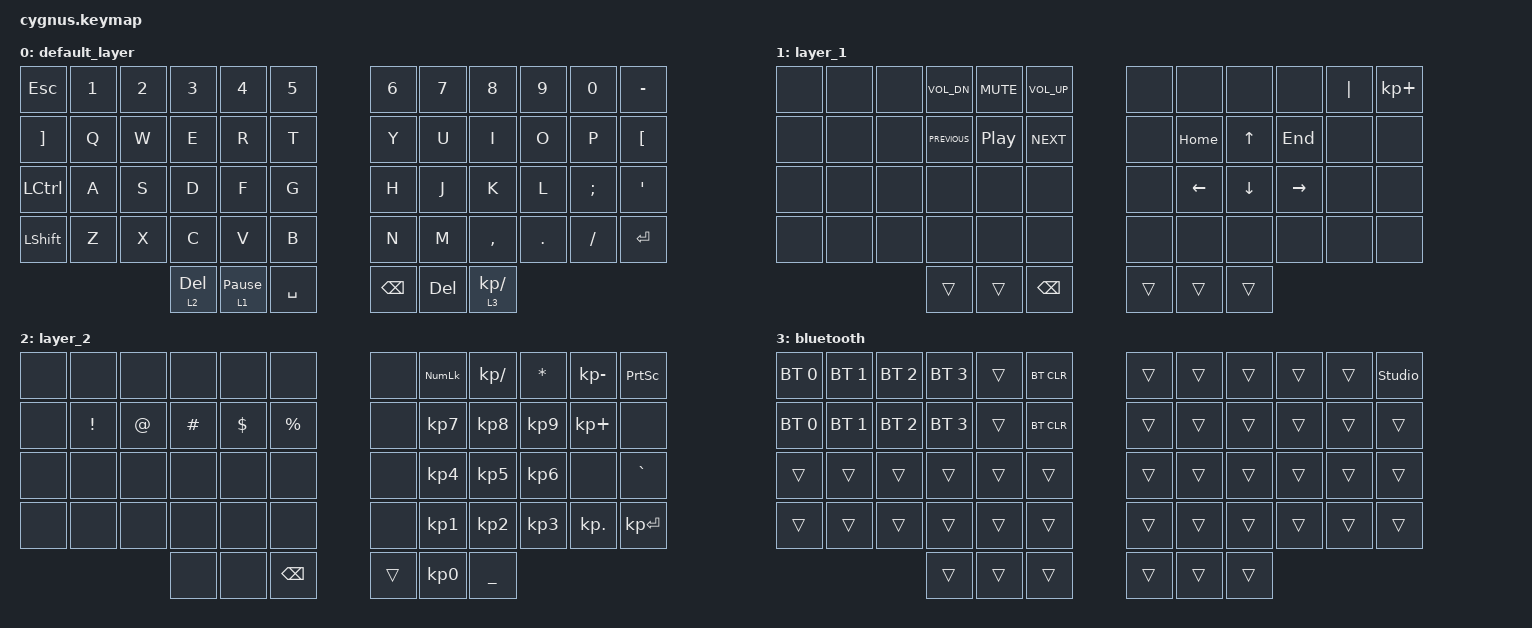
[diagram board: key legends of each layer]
#include <behaviors/rgbled_widget.dtsi>
#include <behaviors.dtsi>
#include <dt-bindings/zmk/bt.h>
#include <dt-bindings/zmk/keys.h>

/ {
    combos {
        compatible = "zmk,combos";

        bluetooth {
            bindings = <&mo 3>;
            key-positions = <41 36>;
        };

        bt2 {
            bindings = <&mo 3>;
            key-positions = <48 53>;
        };
    };

    behaviors {
        hml: hml {
            compatible = "zmk,behavior-hold-tap";
            label = "HOME_ROW_LEFT";
            bindings = <&kp>, <&kp>;

            #binding-cells = <2>;
            hold-trigger-key-positions = <6 7 8 9 10 11 18 19 20 21 22 23 30 31 32 33 34 35 42 43 44 45 46 47>;
            tapping-term-ms = <180>;
            quick-tap-ms = <175>;
            require-prior-idle-ms = <150>;
            flavor = "balanced";
            hold-trigger-on-release;
        };

        hmr: hmr {
            compatible = "zmk,behavior-hold-tap";
            label = "HOME_ROW_RIGHT";
            bindings = <&kp>, <&kp>;

            #binding-cells = <2>;
            tapping-term-ms = <180>;
            quick-tap-ms = <175>;
            require-prior-idle-ms = <150>;
            flavor = "balanced";
            hold-trigger-key-positions = <0 1 2 3 4 5 12 13 14 15 16 17 24 25 26 27 28 29 36 37 38 39 40 41>;
            hold-trigger-on-release;
        };
    };

    keymap {
        compatible = "zmk,keymap";

        default_layer {
            // -----------------------------------------------------------------------------------------
            // |  ESC |  1  |  2  |  3  |  4  |  5  |   |  6  |  7   |  8  |  9  |  0  |  ?   |
            // |  TAB |  Q  |  W  |  E  |  R  |  T  |   |  Y  |  U   |  I  |  O  |  P  | BKSP |
            // | CTRL |  A  |  S  |  D  |  F  |  G  |   |  H  |  J   |  K  |  L  |  ;  |  '   |
            // | SHFT |  Z  |  X  |  C  |  V  |  B  |   |  N  |  M   |  ,  |  .  |  /  | ESC  |
            //                    | GUI | LWR | SPC |   | ENT | RSE  | ALT |

            bindings = <
&kp ESCAPE  &kp N1  &kp N2  &kp N3        &kp N4             &kp N5       &kp N6    &kp N7      &kp N8           &kp N9   &kp N0     &kp MINUS
&kp RBKT    &kp Q   &kp W   &kp E         &kp R              &kp T        &kp Y     &kp U       &kp I            &kp O    &kp P      &kp LBKT
&kp LCTRL   &kp A   &kp S   &kp D         &kp F              &kp G        &kp H     &kp J       &kp K            &kp L    &kp SEMI   &kp SQT
&kp LSHFT   &kp Z   &kp X   &kp C         &kp V              &kp B        &kp N     &kp M       &kp COMMA        &kp DOT  &kp SLASH  &kp ENTER
                            &lt 2 DELETE  &lt 1 PAUSE_BREAK  &kp SPACE    &kp BSPC  &kp DELETE  &lt 3 KP_DIVIDE
            >;
        };

        layer_1 {
            // -----------------------------------------------------------------------------------------
            // |  TAB |  F1 |  F2 |  F3 |  F4 |  F5 |   |  F6 |  F7 |  F8 |  F9 | F10 | BKSP |
            // |  TAB |  1  |  2  |  3  |  4  |  5  |   |  6  |  7  |  8  |  9  |  0  | BKSP |
            // | BTCLR| BT1 | BT2 | BT3 | BT4 | BT5 |   | LFT | DWN |  UP | RGT |     |      |
            // | SHFT |     |     |     |     |     |   |     |     |     |     |     |      |
            //                    | GUI |     | SPC |   | ENT |     | ALT |

            bindings = <
&none  &none  &none  &kp C_VOL_DN    &kp C_MUTE        &kp C_VOL_UP     &none   &none     &none         &none      &kp PIPE  &kp KP_PLUS
&none  &none  &none  &kp C_PREVIOUS  &kp C_PLAY_PAUSE  &kp C_NEXT       &none   &kp HOME  &kp UP_ARROW  &kp END    &none     &none
&none  &none  &none  &none           &none             &none            &none   &kp LEFT  &kp DOWN      &kp RIGHT  &none     &none
&none  &none  &none  &none           &none             &none            &none   &none     &none         &none      &none     &none
                     &trans          &trans            &kp BACKSPACE    &trans  &trans    &trans
            >;
        };

        layer_2 {
            // -----------------------------------------------------------------------------------------
            // |  TAB |  !  |  @  |  #  |  $  |  %  |   |  ^  |  &  |  *  |  (  |  )  | BKSP |
            // | CTRL |     |     |     |     |     |   |  -  |  =  |  [  |  ]  |  \  |  `   |
            // | SHFT |     |     |     |     |     |   |  _  |  +  |  {  |  }  | "|" |  ~   |
            //                    | GUI |     | SPC |   | ENT |     | ALT |

            bindings = <
&none  &none     &none   &none     &none     &none            &none   &kp KP_NUMLOCK   &kp KP_DIVIDE    &kp ASTRK        &kp KP_MINUS  &kp PRINTSCREEN
&none  &kp EXCL  &kp AT  &kp HASH  &kp DLLR  &kp PRCNT        &none   &kp KP_NUMBER_7  &kp KP_NUMBER_8  &kp KP_NUMBER_9  &kp KP_PLUS   &none
&none  &none     &none   &none     &none     &none            &none   &kp KP_NUMBER_4  &kp KP_NUMBER_5  &kp KP_NUMBER_6  &none         &kp GRAVE
&none  &none     &none   &none     &none     &none            &none   &kp KP_NUMBER_1  &kp KP_NUMBER_2  &kp KP_NUMBER_3  &kp KP_DOT    &kp KP_ENTER
                         &none     &none     &kp BACKSPACE    &trans  &kp KP_N0        &kp UNDER
            >;
        };

        bluetooth {
            bindings = <
&bt BT_SEL 0  &bt BT_SEL 1  &bt BT_SEL 2  &bt BT_SEL 3  &trans  &bt BT_CLR    &trans  &trans  &trans  &trans  &trans  &studio_unlock
&bt BT_SEL 0  &bt BT_SEL 1  &bt BT_SEL 2  &bt BT_SEL 3  &trans  &bt BT_CLR    &trans  &trans  &trans  &trans  &trans  &trans
&trans        &trans        &trans        &trans        &trans  &trans        &trans  &trans  &trans  &trans  &trans  &trans
&trans        &trans        &trans        &trans        &trans  &trans        &trans  &trans  &trans  &trans  &trans  &trans
                                          &trans        &trans  &trans        &trans  &trans  &trans
            >;
        };
    };
};
